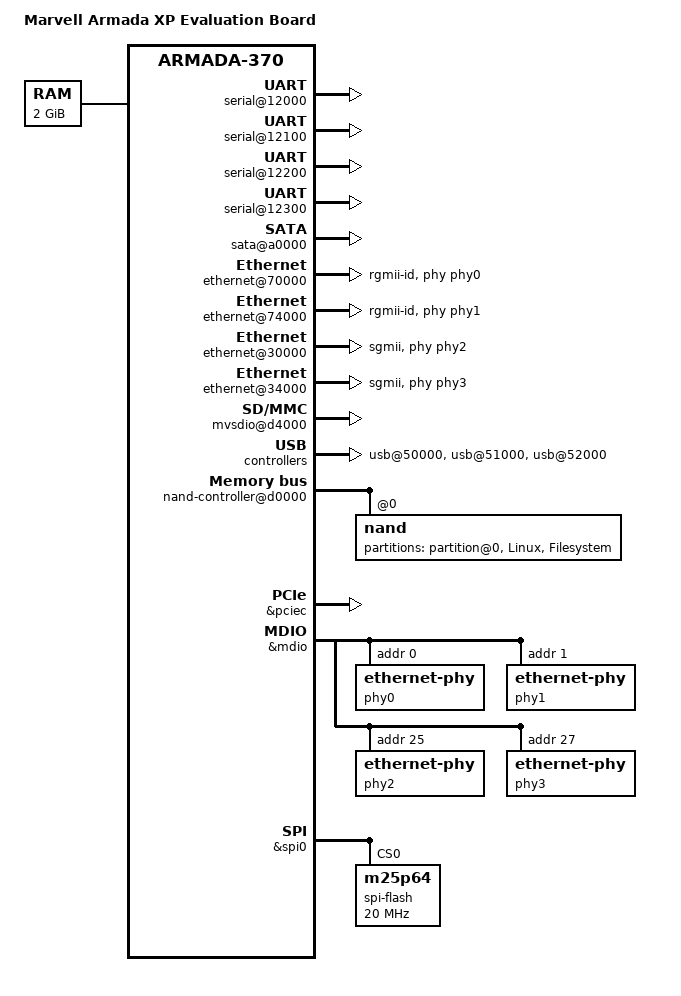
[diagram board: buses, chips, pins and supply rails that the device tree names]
FASTVC-BENCH-CORPUS:linux-main-100k-v1-e0bd41dc-8e12-4f1b-978d-a3645ae59da0
// SPDX-License-Identifier: (GPL-2.0+ OR MIT)
/*
 * Device Tree file for Marvell Armada XP evaluation board
 * (DB-78460-BP)
 *
 * Copyright (C) 2012-2014 Marvell
 *
 * Lior Amsalem <alior@marvell.com>
 * Gregory CLEMENT <gregory.clement@free-electrons.com>
 * Thomas Petazzoni <thomas.petazzoni@free-electrons.com>
 *
  *
 * Note: this Device Tree assumes that the bootloader has remapped the
 * internal registers to 0xf1000000 (instead of the default
 * 0xd0000000). The 0xf1000000 is the default used by the recent,
 * DT-capable, U-Boot bootloaders provided by Marvell. Some earlier
 * boards were delivered with an older version of the bootloader that
 * left internal registers mapped at 0xd0000000. If you are in this
 * situation, you should either update your bootloader (preferred
 * solution) or the below Device Tree should be adjusted.
 */

/dts-v1/;
#include "armada-xp-mv78460.dtsi"

/ {
	model = "Marvell Armada XP Evaluation Board";
	compatible = "marvell,axp-db", "marvell,armadaxp-mv78460", "marvell,armadaxp", "marvell,armada-370-xp";

	chosen {
		stdout-path = "serial0:115200n8";
	};

	memory@0 {
		device_type = "memory";
		reg = <0 0x00000000 0 0x80000000>; /* 2 GB */
	};

	soc {
		ranges = <MBUS_ID(0xf0, 0x01) 0 0 0xf1000000 0x100000
			  MBUS_ID(0x01, 0x1d) 0 0 0xfff00000 0x100000
			  MBUS_ID(0x01, 0x2f) 0 0 0xf0000000 0x1000000
			  MBUS_ID(0x09, 0x09) 0 0 0xf1100000 0x10000
			  MBUS_ID(0x09, 0x05) 0 0 0xf1110000 0x10000
			  MBUS_ID(0x0c, 0x04) 0 0 0xf1200000 0x100000>;

		devbus-bootcs {
			status = "okay";

			/* Device Bus parameters are required */

			/* Read parameters */
			devbus,bus-width    = <16>;
			devbus,turn-off-ps  = <60000>;
			devbus,badr-skew-ps = <0>;
			devbus,acc-first-ps = <124000>;
			devbus,acc-next-ps  = <248000>;
			devbus,rd-setup-ps  = <0>;
			devbus,rd-hold-ps   = <0>;

			/* Write parameters */
			devbus,sync-enable = <0>;
			devbus,wr-high-ps  = <60000>;
			devbus,wr-low-ps   = <60000>;
			devbus,ale-wr-ps   = <60000>;

			/* NOR 16 MiB */
			nor@0 {
				compatible = "cfi-flash";
				reg = <0 0x1000000>;
				bank-width = <2>;
			};
		};

		internal-regs {
			serial@12000 {
				status = "okay";
			};
			serial@12100 {
				status = "okay";
			};
			serial@12200 {
				status = "okay";
			};
			serial@12300 {
				status = "okay";
			};

			sata@a0000 {
				nr-ports = <2>;
				status = "okay";
			};

			ethernet@70000 {
				status = "okay";
				phy = <&phy0>;
				phy-mode = "rgmii-id";
				buffer-manager = <&bm>;
				bm,pool-long = <0>;
			};
			ethernet@74000 {
				status = "okay";
				phy = <&phy1>;
				phy-mode = "rgmii-id";
				buffer-manager = <&bm>;
				bm,pool-long = <1>;
			};
			ethernet@30000 {
				status = "okay";
				phy = <&phy2>;
				phy-mode = "sgmii";
				buffer-manager = <&bm>;
				bm,pool-long = <2>;
			};
			ethernet@34000 {
				status = "okay";
				phy = <&phy3>;
				phy-mode = "sgmii";
				buffer-manager = <&bm>;
				bm,pool-long = <3>;
			};

			bm@c0000 {
				status = "okay";
			};

			mvsdio@d4000 {
				pinctrl-0 = <&sdio_pins>;
				pinctrl-names = "default";
				status = "okay";
				/* No CD or WP GPIOs */
				broken-cd;
			};

			usb@50000 {
				status = "okay";
			};

			usb@51000 {
				status = "okay";
			};

			usb@52000 {
				status = "okay";
			};

			nand-controller@d0000 {
				status = "okay";

				nand@0 {
					reg = <0>;
/* bench 1649.1.0 29ce61b4fb2b */
/* bench 1649.1.1 930afca91e59 */
/* bench 1649.1.2 627b34543242 */
					nand-on-flash-bbt;

					partitions {
						compatible = "fixed-partitions";
						#address-cells = <1>;
						#size-cells = <1>;

						partition@0 {
/* bench 4355.1.0 717c3361e6a7 */
/* bench 4355.1.1 ac14c4abfb39 */
/* bench 4355.1.2 8dbae2a23dd1 */
/* bench 4355.1.3 80d58b07d914 */
/* bench 4355.1.4 39d55505a1f1 */
/* bench 4355.1.5 4e86502f2683 */
/* bench 4355.1.6 05950ff2796a */
/* bench 4355.1.7 d6f845f6ce67 */
/* bench 4355.1.8 99ab55ff970e */
/* bench 4355.1.9 34789711ff14 */
/* bench 4355.1.10 1546c4543028 */
/* bench 4355.1.11 a19258380386 */
/* bench 4355.1.12 cd761819e723 */
/* bench 4355.1.13 cf7b2e17ac60 */
						partition@800000 {
							label = "Linux";
							reg = <0x800000 0x800000>;
						};
						partition@1000000 {
							label = "Filesystem";
							reg = <0x1000000 0x3f000000>;
						};
					};
				};
			};
		};

		bm-bppi {
			status = "okay";
		};
	};
};
/* bench 11498.2.0 3a6cdd944de7 */
/* bench 11498.2.1 65358c912cf1 */

&pciec {
	status = "okay";

	/*
	 * All 6 slots are physically present as
	 * standard PCIe slots on the board.
	 */
	pcie@1,0 {
		/* Port 0, Lane 0 */
		status = "okay";
	};
	pcie@2,0 {
		/* Port 0, Lane 1 */
		status = "okay";
	};
	pcie@3,0 {
		/* Port 0, Lane 2 */
		status = "okay";
	};
	pcie@4,0 {
		/* Port 0, Lane 3 */
		status = "okay";
	};
	pcie@9,0 {
		/* Port 2, Lane 0 */
		status = "okay";
	};
	pcie@a,0 {
		/* Port 3, Lane 0 */
		status = "okay";
	};
};

&mdio {
	phy0: ethernet-phy@0 {
		reg = <0>;
	};

	phy1: ethernet-phy@1 {
		reg = <1>;
	};

	phy2: ethernet-phy@2 {
		reg = <25>;
	};

	phy3: ethernet-phy@3 {
		reg = <27>;
	};
};

&spi0 {
	status = "okay";

	spi-flash@0 {
		#address-cells = <1>;
		#size-cells = <1>;
		compatible = "m25p64", "jedec,spi-nor";
		reg = <0>; /* Chip select 0 */
		spi-max-frequency = <20000000>;
	};
};
